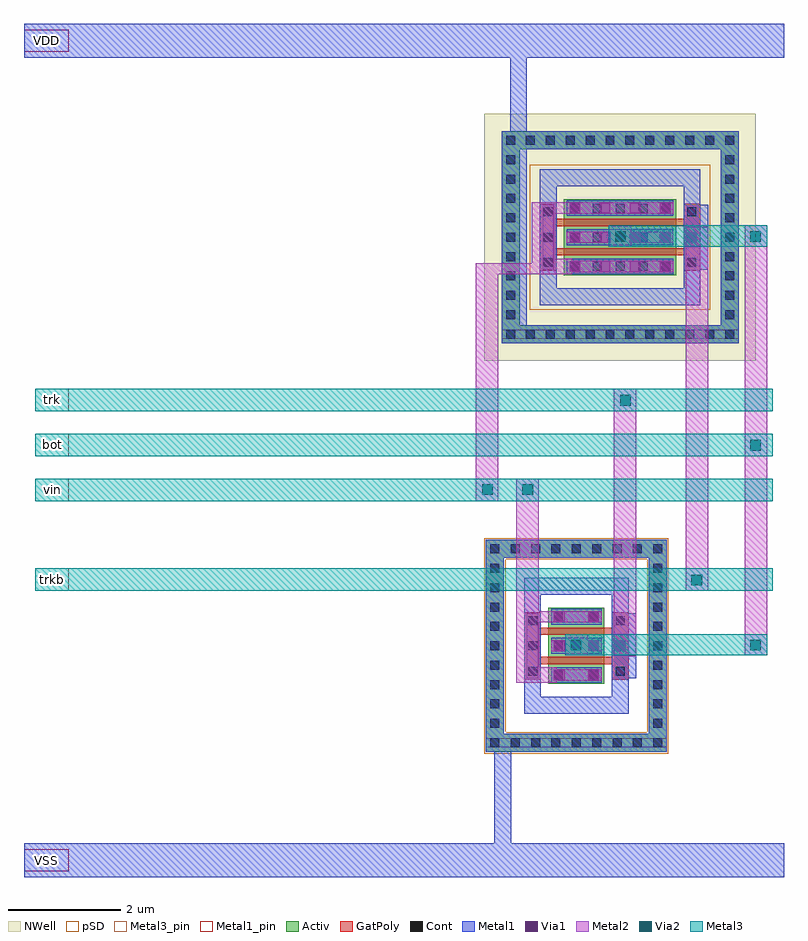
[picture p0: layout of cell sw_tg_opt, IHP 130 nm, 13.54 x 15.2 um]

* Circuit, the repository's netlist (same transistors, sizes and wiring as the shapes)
* parameterized plain transmission gate
.subckt sw_tg_opt bot vin trk trkb VDD VSS
MNT bot trk vin VSS sg13_lv_nmos w=2.0u l=0.13u rfmode=1
MPT bot trkb vin VDD sg13_lv_pmos w=4.0u l=0.13u rfmode=1
.ends

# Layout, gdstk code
import gdstk
lib = gdstk.Library(unit=1e-6, precision=1e-09)
def R(c, l, rs):  # rectangles x0, y0, x1, y1
    for r in rs: c.add(gdstk.rectangle(r[:2], r[2:], *l))
def A(c, l, x, y, w, h, nx, ny, dx, dy):  # array of equal rectangles
    R(c, l, [(x+i*dx, y+j*dy, x+i*dx+w, y+j*dy+h) for i in range(nx) for j in range(ny)])
def P(c, l, *ps):  # polygons
    for p in ps: c.add(gdstk.Polygon(p, *l))
Activ = (1, 0)
GatPoly = (5, 0)
Cont = (6, 0)
Metal1 = (8, 0)
Metal1_pin = (8, 2)
Metal2 = (10, 0)
pSD = (14, 0)
Via1 = (19, 0)
Via2 = (29, 0)
Metal3 = (30, 0)
Metal3_pin = (30, 2)
NWell = (31, 0)

rfnmos = lib.new_cell('rfnmos')
R(rfnmos, Activ, [(1.14,1.245,2.14,2.595)])
P(rfnmos, Activ, [(0.03,0.03),(0.03,3.49),(0.35,3.49),(0.35,0.35),(2.93,0.35),(2.93,3.49),(0.03,3.49),(0.03,3.81),(3.25,3.81),(3.25,0.03)])
R(rfnmos, GatPoly, [(0.71,1.32,1.01,2.52), (2.27,1.32,2.57,2.52), (1.01,1.595,2.27,1.725), (1.01,2.115,2.27,2.245)])
A(rfnmos, Cont, 0.11, 0.46, 0.16, 0.16, 1, 9, 0, 0.345)
A(rfnmos, Cont, 3.01, 0.46, 0.16, 0.16, 1, 9, 0, 0.345)
A(rfnmos, Cont, 1.24, 1.32, 0.16, 0.16, 1, 3, 0, 0.52)
A(rfnmos, Cont, 1.88, 1.32, 0.16, 0.16, 1, 3, 0, 0.52)
A(rfnmos, Cont, 0.78, 1.39, 0.16, 0.16, 1, 3, 0, 0.45)
A(rfnmos, Cont, 2.34, 1.39, 0.16, 0.16, 1, 3, 0, 0.45)
R(rfnmos, Cont, [(0.11,0.11,0.27,0.27), (0.47,0.11,0.63,0.27), (0.835,0.11,0.995,0.27), (1.195,0.11,1.355,0.27), (1.56,0.11,1.72,0.27), (1.92,0.11,2.08,0.27), (2.285,0.11,2.445,0.27), (2.645,0.11,2.805,0.27), (3.01,0.11,3.17,0.27), (0.11,3.57,0.27,3.73), (0.47,3.57,0.63,3.73), (0.835,3.57,0.995,3.73), (1.195,3.57,1.355,3.73), (1.56,3.57,1.72,3.73), (1.92,3.57,2.08,3.73), (2.285,3.57,2.445,3.73), (2.645,3.57,2.805,3.73), (3.01,3.57,3.17,3.73)])
A(rfnmos, Metal1, 1.19, 1.26, 0.9, 0.28, 1, 3, 0, 0.52)
R(rfnmos, Metal1, [(0.03,0.03,3.25,0.35), (0.03,0.35,0.35,3.49), (2.93,0.35,3.25,3.49), (0.76,1.34,0.96,2.5), (2.32,1.34,2.52,2.5), (0.03,3.49,3.25,3.81)])
P(rfnmos, Metal1, [(0.71,0.71),(0.71,2.83),(1.01,2.83),(1.01,1.01),(2.27,1.01),(2.27,2.83),(0.71,2.83),(0.71,3.13),(2.57,3.13),(2.57,0.71)])
R(rfnmos, Metal1_pin, [(0.03,0.11,3.25,0.27), (0.03,0.11,3.25,0.27), (1.19,1.26,2.09,1.54), (1.19,1.26,2.09,1.54), (0.76,1.34,0.96,2.5), (0.76,1.34,0.96,2.5), (1.19,1.78,2.09,2.06), (1.19,1.78,2.09,2.06)])
A(rfnmos, Metal2, 1.19, 1.3, 0.9, 0.2, 1, 3, 0, 0.52)
P(rfnmos, pSD, [(0,0),(0,3.46),(0.38,3.46),(0.38,0.38),(2.9,0.38),(2.9,3.46),(0,3.46),(0,3.84),(3.28,3.84),(3.28,0)])
A(rfnmos, Via1, 1.24, 1.305, 0.19, 0.19, 1, 3, 0, 0.52)
A(rfnmos, Via1, 1.85, 1.305, 0.19, 0.19, 1, 3, 0, 0.52)
rfnmos.add(gdstk.Label('S', (1.64,1.42), layer=63, texttype=0))
rfnmos.add(gdstk.Label('D', (1.64,1.94), layer=63, texttype=0))
rfnmos.add(gdstk.Label('G', (0.86,1.92), layer=63, texttype=0))
rfnmos.add(gdstk.Label('TIE', (1.64,0.19), layer=63, texttype=0))
rfnmos.add(gdstk.Label('rfnmos', (1.64,3.65), layer=63, texttype=0))

rfpmos = lib.new_cell('rfpmos')
R(rfpmos, Activ, [(1.42,1.525,3.42,2.875)])
P(rfpmos, Activ, [(0.31,0.31),(0.31,3.77),(0.63,3.77),(0.63,0.63),(4.21,0.63),(4.21,3.77),(0.31,3.77),(0.31,4.09),(4.53,4.09),(4.53,0.31)])
R(rfpmos, GatPoly, [(0.99,1.6,1.29,2.8), (3.55,1.6,3.85,2.8), (1.29,1.875,3.55,2.005), (1.29,2.395,3.55,2.525)])
A(rfpmos, Cont, 0.74, 0.39, 0.16, 0.16, 11, 2, 0.355, 3.46)
A(rfpmos, Cont, 0.39, 0.74, 0.16, 0.16, 1, 9, 0, 0.345)
A(rfpmos, Cont, 4.29, 0.74, 0.16, 0.16, 1, 9, 0, 0.345)
A(rfpmos, Cont, 1.52, 1.6, 0.16, 0.16, 5, 3, 0.41, 0.52)
A(rfpmos, Cont, 1.06, 1.67, 0.16, 0.16, 1, 3, 0, 0.45)
A(rfpmos, Cont, 3.62, 1.67, 0.16, 0.16, 1, 3, 0, 0.45)
R(rfpmos, Cont, [(0.39,0.39,0.55,0.55), (0.39,3.85,0.55,4.01)])
A(rfpmos, Metal1, 1.47, 1.54, 1.9, 0.28, 1, 3, 0, 0.52)
R(rfpmos, Metal1, [(0.31,0.31,4.53,0.63), (0.31,0.63,0.63,3.77), (4.21,0.63,4.53,3.77), (1.04,1.62,1.24,2.78), (3.6,1.62,3.8,2.78), (0.31,3.77,4.53,4.09)])
P(rfpmos, Metal1, [(0.99,0.99),(0.99,3.11),(1.29,3.11),(1.29,1.29),(3.55,1.29),(3.55,3.11),(0.99,3.11),(0.99,3.41),(3.85,3.41),(3.85,0.99)])
R(rfpmos, Metal1_pin, [(0.31,0.39,4.53,0.55), (0.31,0.39,4.53,0.55), (1.47,1.54,3.37,1.82), (1.47,1.54,3.37,1.82), (1.04,1.62,1.24,2.78), (1.04,1.62,1.24,2.78), (1.47,2.06,3.37,2.34), (1.47,2.06,3.37,2.34)])
A(rfpmos, Metal2, 1.47, 1.58, 1.9, 0.2, 1, 3, 0, 0.52)
R(rfpmos, pSD, [(0.81,0.91,4.03,3.49)])
A(rfpmos, Via1, 1.52, 1.585, 0.19, 0.19, 3, 3, 0.535, 0.52)
A(rfpmos, Via1, 3.13, 1.585, 0.19, 0.19, 1, 3, 0, 0.52)
R(rfpmos, NWell, [(0,0,4.84,4.4)])
rfpmos.add(gdstk.Label('S', (2.42,1.7), layer=63, texttype=0))
rfpmos.add(gdstk.Label('D', (2.42,2.22), layer=63, texttype=0))
rfpmos.add(gdstk.Label('G', (1.14,2.2), layer=63, texttype=0))
rfpmos.add(gdstk.Label('TIE', (2.42,0.47), layer=63, texttype=0))
rfpmos.add(gdstk.Label('rfpmos', (2.42,3.93), layer=63, texttype=0))

sw_tg_opt = lib.new_cell('sw_tg_opt')
R(sw_tg_opt, Metal1, [(-1.2,-2.2,12.34,-1.6), (7.18,-1.6,7.48,0.23), (9.31,1.34,9.71,2.5), (7.46,7.44,7.76,12.4), (10.59,8.62,10.99,9.78), (-1.2,12.4,12.34,13)])
R(sw_tg_opt, Metal1_pin, [(-1.2,-2.1,-0.4,-1.7), (-1.2,12.5,-0.4,12.9)])
R(sw_tg_opt, Metal2, [(7.57,1.26,8.29,1.54), (7.57,1.26,7.97,2.54), (9.31,1.73,9.71,2.11), (8.44,1.75,8.84,2.13), (11.64,1.75,12.04,2.13), (9.31,1.92,9.71,6.3), (11.64,1.94,12.04,5.5), (7.57,2.34,8.29,2.54), (7.57,2.4,7.97,4.9), (10.59,2.9,10.99,3.3), (10.59,3.1,10.99,9.2), (6.85,4.5,7.25,4.9), (6.85,4.5,7.25,8.74), (7.57,4.5,7.97,4.9), (11.64,5.3,12.04,5.7), (11.64,5.3,12.04,5.7), (11.64,5.5,12.04,9.22), (9.31,6.1,9.71,6.5), (6.85,8.54,8.25,8.74), (7.85,8.54,8.57,8.82), (7.85,8.54,8.25,9.82), (10.59,9.01,10.99,9.39), (9.22,9.03,9.62,9.41), (11.64,9.03,12.04,9.41), (7.85,9.62,8.57,9.82)])
R(sw_tg_opt, Via1, [(9.32,1.82,9.51,2.01), (10.6,9.1,10.79,9.29)])
R(sw_tg_opt, Via2, [(8.54,1.84,8.73,2.03), (11.74,1.84,11.93,2.03), (10.69,3,10.88,3.19), (6.96,4.61,7.15,4.8), (7.68,4.61,7.87,4.8), (11.74,5.4,11.93,5.59), (11.74,5.4,11.93,5.59), (9.42,6.2,9.61,6.39), (9.33,9.12,9.52,9.31), (11.74,9.12,11.93,9.31)])
A(sw_tg_opt, Metal3, -1, 4.5, 13.14, 0.4, 1, 3, 0, 0.8)
R(sw_tg_opt, Metal3, [(8.44,1.75,12.04,2.13), (8.44,1.75,8.84,2.13), (11.64,1.75,12.04,2.13), (-1,2.9,12.14,3.3), (10.59,2.9,10.99,3.3), (6.85,4.5,7.25,4.9), (7.57,4.5,7.97,4.9), (11.64,5.3,12.04,5.7), (11.64,5.3,12.04,5.7), (9.31,6.1,9.71,6.5), (9.22,9.03,9.62,9.41), (9.22,9.03,12.04,9.41), (11.64,9.03,12.04,9.41)])
A(sw_tg_opt, Metal3_pin, -1, 4.5, 0.6, 0.4, 1, 3, 0, 0.8)
R(sw_tg_opt, Metal3_pin, [(-1,2.9,-0.4,3.3)])
sw_tg_opt.add(gdstk.Reference(rfnmos, (7,0)))
sw_tg_opt.add(gdstk.Reference(rfpmos, (7,7)))
sw_tg_opt.add(gdstk.Label('VSS', (-0.8,-1.9), layer=8, texttype=25))
sw_tg_opt.add(gdstk.Label('VDD', (-0.8,12.7), layer=8, texttype=25))
sw_tg_opt.add(gdstk.Label('bot', (-0.7,5.5), layer=30, texttype=25))
sw_tg_opt.add(gdstk.Label('vin', (-0.7,4.7), layer=30, texttype=25))
sw_tg_opt.add(gdstk.Label('trkb', (-0.7,3.1), layer=30, texttype=25))
sw_tg_opt.add(gdstk.Label('trk', (-0.7,6.3), layer=30, texttype=25))

lib.write_gds('sw_tg_opt.gds')
